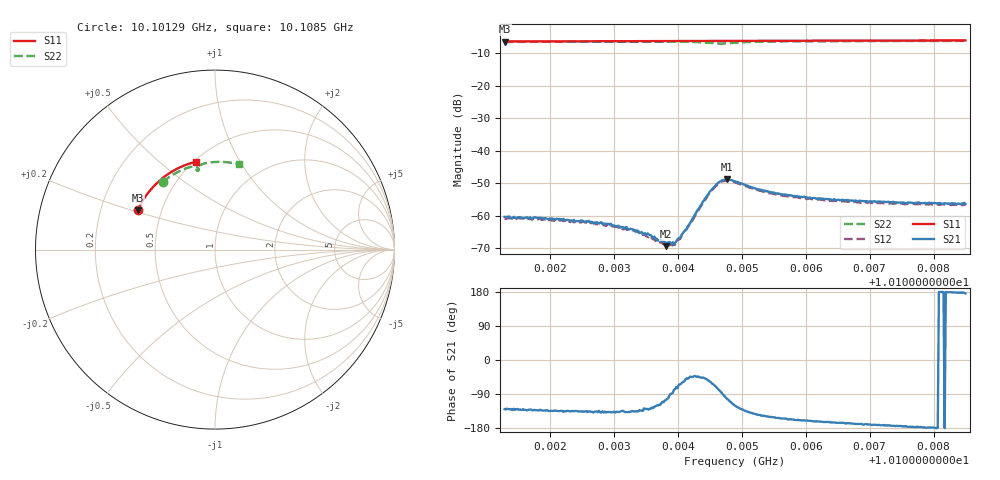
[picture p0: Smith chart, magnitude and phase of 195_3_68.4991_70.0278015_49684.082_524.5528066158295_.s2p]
#  HZ  S  RI  R  50.00
! Rohde & Schwarz Vector Network Analyzer
! Rohde-Schwarz,ZNB20-2Port,1311601062101988,3.16
! Created: UTC 3/20/2024, 4:57:17 PM
! freq[Hz]  re:S11  im:S11  re:S21  im:S21  re:S12  im:S12  re:S22  im:S22
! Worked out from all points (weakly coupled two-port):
!   401 points, 10.10129 GHz to 10.1085 GHz, reference 50 ohm
!   highest |S21| = -48.85 dB at 10.10477 GHz (marker M1); lowest = -69.4 dB at 10.10382 GHz (marker M2)
!   lowest |S11| = -6.3 dB at 10.10129 GHz (marker M3), VSWR 2.87, Z = 18.3 + j10.5 ohm
!   |S11| at or under -10 dB: nowhere
!   |S22| runs from -7.0 to -6.1 dB; largest |S21 - S12| = 0.00039
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1.0101294e10  -0.4298 0.22  -0.000606 -0.000735  -0.000506 -0.00075  -0.2912 0.3758
1.0101618e10  -0.4213 0.2378  -0.000614 -0.000691  -0.000527 -0.000704  -0.275 0.389
1.0101798e10  -0.4165 0.2476  -0.000623 -0.00068  -0.000538 -0.000675  -0.2656 0.396
1.01025e10  -0.3951 0.2845  -0.000593 -0.000592  -0.00053 -0.000593  -0.2273 0.4214
1.0102933e10  -0.38 0.3063  -0.00053 -0.000492  -0.000471 -0.000518  -0.2022 0.4353
1.0103275e10  -0.3674 0.3226  -0.000442 -0.000434  -0.000395 -0.000452  -0.1814 0.4451
1.0103563e10  -0.3562 0.3363  -0.00031 -0.000392  -0.000295 -0.000396  -0.1627 0.4524
1.0103707e10  -0.3505 0.3428  -0.000194 -0.000366  -0.000178 -0.00037  -0.1528 0.4556
1.0103815e10  -0.346 0.3475  -9.13e-05 -0.000324  -8.45e-05 -0.000374  -0.1453 0.4579
1.0103923e10  -0.3416 0.3525  1.93e-05 -0.000387  5.26e-05 -0.000342  -0.1375 0.4598
1.0103995e10  -0.3387 0.3555  0.000112 -0.000411  0.000159 -0.000375  -0.1319 0.4608
1.0104157e10  -0.3318 0.3626  0.000449 -0.000523  0.000478 -0.000457  -0.1187 0.4619
1.0104391e10  -0.3214 0.3725  0.00113 -0.00117  0.00114 -0.00101  -0.0986 0.4573
1.0104517e10  -0.3158 0.3777  0.00126 -0.00206  0.00141 -0.00187  -0.0907 0.449
1.0104662e10  -0.3093 0.3834  0.000462 -0.00331  0.000726 -0.00314  -0.0936 0.4385
1.010477e10  -0.3045 0.3876  -0.000761 -0.00353  -0.000389 -0.00341  -0.101 0.4406
1.0104896e10  -0.2988 0.3927  -0.00171 -0.0029  -0.00138 -0.00294  -0.1026 0.4509
1.0105202e10  -0.2843 0.4041  -0.00207 -0.00161  -0.00185 -0.0017  -0.0851 0.4699
1.0105436e10  -0.2729 0.4128  -0.002 -0.00114  -0.00177 -0.00129  -0.0683 0.4771
1.0106102e10  -0.2392 0.4351  -0.00176 -0.000593  -0.00163 -0.000741  -0.0222 0.4864
1.0107309e10  -0.174 0.4677  -0.0016 -0.000212  -0.00149 -0.000342  0.057 0.4875
1.0108498e10  -0.1058 0.4898  -0.0015 0.000114  -0.00146 -9.02e-05  0.1324 0.4753
